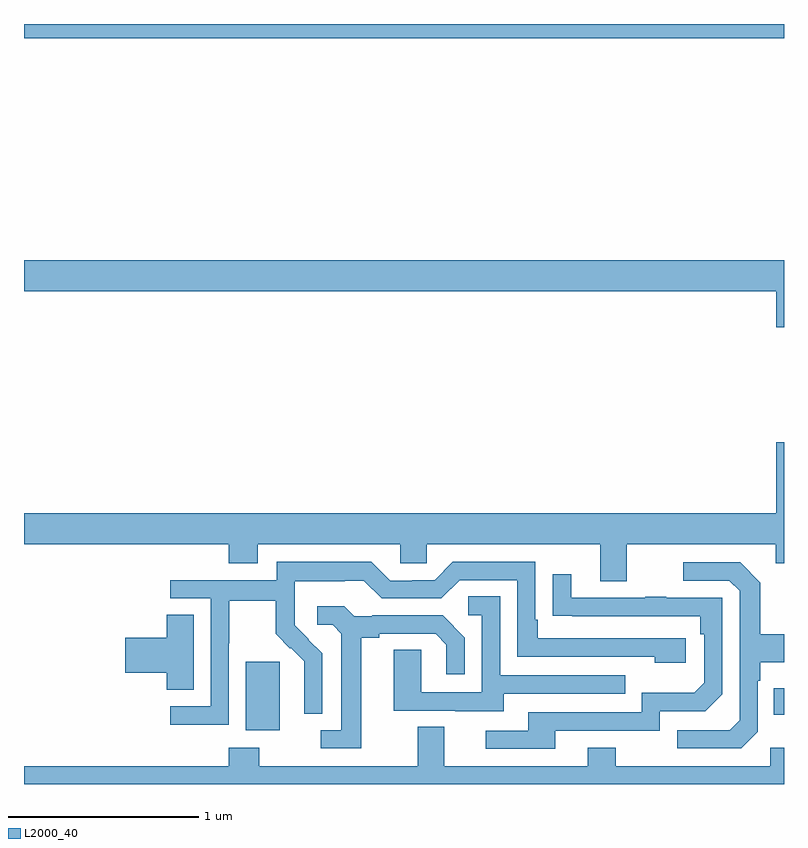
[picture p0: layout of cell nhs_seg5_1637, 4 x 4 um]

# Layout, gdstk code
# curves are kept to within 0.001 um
import gdstk
lib = gdstk.Library(unit=1e-6, precision=1e-09)
def R(c, l, rs):  # rectangles x0, y0, x1, y1
    for r in rs: c.add(gdstk.rectangle(r[:2], r[2:], *l))
def P(c, l, *ps):  # polygons
    for p in ps: c.add(gdstk.Polygon(p, *l))
L2000_40 = (2000, 40)

nhs_seg5_1637 = lib.new_cell('nhs_seg5_1637')
R(nhs_seg5_1637, L2000_40, [(210.167,889.082,210.346,889.443), (212.947,889.163,213,889.303), (209,892.724,213,892.799)])
P(nhs_seg5_1637, L2000_40, [(213,891.556),(209,891.556),(209,891.392),(212.96,891.392),(212.96,891.204),(213,891.204)],
  [(212.173,890.06),(212.957,890.06),(212.957,889.961),(213,889.961),(213,890.599),(212.96,890.599),(212.96,890.224),(209,890.224),(209,890.06),(210.077,890.06),(210.077,889.961),(210.229,889.961),(210.229,890.06),(210.981,890.06),(210.981,889.962),(211.119,889.962),(211.119,890.06),(212.033,890.06),(212.033,889.866),(212.173,889.866)],
  [(210.078,889.54),(210.081,889.54),(210.081,889.764),(210.325,889.764),(210.325,889.589),(210.402,889.512),(210.405,889.515),(210.476,889.445),(210.476,889.322),(210.474,889.322),(210.474,889.168),(210.57,889.168),(210.57,889.486),(210.424,889.634),(210.424,889.731),(210.426,889.731),(210.426,889.865),(210.689,889.865),(210.689,889.869),(210.789,889.869),(210.882,889.776),(211.197,889.776),(211.293,889.872),(211.596,889.872),(211.596,889.47),(212.321,889.47),(212.321,889.436),(212.482,889.436),(212.482,889.566),(211.705,889.566),(211.705,889.663),(211.692,889.663),(211.692,889.968),(211.257,889.968),(211.161,889.872),(211.043,889.872),(211.043,889.869),(210.927,889.869),(210.827,889.969),(210.33,889.969),(210.33,889.872),(209.769,889.872),(209.769,889.776),(209.982,889.776),(209.982,889.209),(209.769,889.209),(209.769,889.111),(210.078,889.111)],
  [(212.862,889.074),(212.862,889.343),(212.875,889.343),(212.875,889.439),(213,889.439),(213,889.587),(212.875,889.587),(212.875,889.859),(212.769,889.965),(212.469,889.965),(212.469,889.869),(212.712,889.869),(212.766,889.815),(212.766,889.134),(212.715,889.083),(212.439,889.083),(212.439,888.987),(212.775,888.987)],
  [(211.795,889.08),(212.346,889.08),(212.346,889.182),(212.586,889.182),(212.676,889.272),(212.676,889.779),(212.381,889.779),(212.381,889.784),(212.269,889.784),(212.269,889.779),(211.879,889.779),(211.879,889.903),(211.783,889.903),(211.783,889.684),(212.56,889.683),(212.56,889.586),(212.58,889.586),(212.58,889.332),(212.527,889.279),(212.25,889.279),(212.25,889.176),(211.655,889.176),(211.655,889.08),(211.431,889.08),(211.431,888.984),(211.795,888.984)],
  [(211.525,889.275),(212.165,889.275),(212.165,889.371),(211.506,889.371),(211.506,889.787),(211.338,889.787),(211.338,889.686),(211.41,889.686),(211.41,889.281),(211.092,889.281),(211.092,889.505),(210.947,889.505),(210.947,889.185),(211.271,889.185),(211.271,889.181),(211.525,889.181)],
  [(210.775,889.568),(210.871,889.568),(210.871,889.59),(211.166,889.59),(211.223,889.533),(211.223,889.377),(211.32,889.377),(211.32,889.57),(211.204,889.686),(210.832,889.686),(210.832,889.683),(210.738,889.683),(210.686,889.735),(210.543,889.735),(210.543,889.638),(210.624,889.638),(210.671,889.591),(210.671,889.083),(210.561,889.083),(210.561,888.987),(210.775,888.987)],
  [(209.893,889.691),(209.75,889.691),(209.75,889.568),(209.532,889.568),(209.532,889.385),(209.75,889.385),(209.75,889.294),(209.893,889.294)],
  [(213,888.991),(212.928,888.991),(212.928,888.892),(212.115,888.892),(212.115,888.991),(211.967,888.991),(211.967,888.892),(211.213,888.892),(211.213,889.1),(211.073,889.1),(211.073,888.892),(210.237,888.892),(210.237,888.991),(210.077,888.991),(210.077,888.892),(209,888.892),(209,888.799),(213,888.799)])

lib.write_gds('nhs_seg5_1637.gds')
